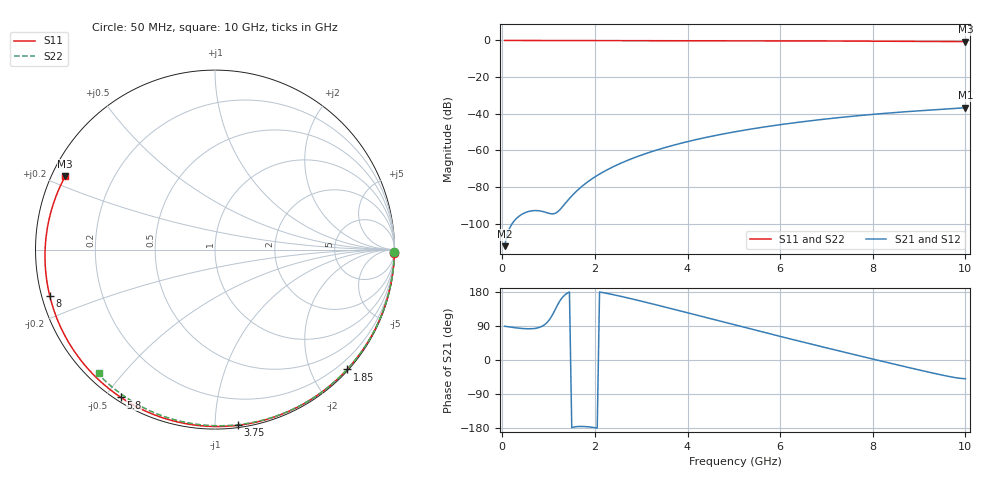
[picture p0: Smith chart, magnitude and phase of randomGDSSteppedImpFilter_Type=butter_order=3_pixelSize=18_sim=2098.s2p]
! freq	dB(S11)	phase(S11)	dB(S12)	phase(S12)
!  dB(S21)	phase(S21)	dB(S22)	phase(S22)
!S-par simulation data
#  GHz  S  DB  R 50
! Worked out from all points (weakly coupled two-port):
!   200 points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, 50 MHz to 10 GHz, reference 50 ohm
!   highest |S21| = -36.75 dB at 10 GHz (marker M1); lowest = -112.4 dB at 50 MHz (marker M2)
!   lowest |S11| = -0.6 dB at 10 GHz (marker M3), VSWR 27.19, Z = 1.94 + j11.6 ohm
!   |S11| at or under -10 dB: nowhere
!   |S22| runs from -0.5 to 0.0 dB; largest |S21 - S12| = 0
!   S11 on the Smith chart (normalised r, x): 50 MHz: 0, -98; 1.85 GHz: 0.02, -2.59; 3.75 GHz: 0.01, -1.14; 5.8 GHz: 0.02, -0.55; 8 GHz: 0.02, -0.14; 10 GHz: 0.04, +0.23
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0.05  -0.00 -1.2  -112.36 89.1  -112.36 89.1  -0.00 -0.8
0.45  -0.01 -10.4  -94.57 82.9  -94.57 82.9  -0.01 -6.9
0.85  -0.03 -19.6  -93.28 88.5  -93.28 88.5  -0.02 -12.9
1.25  -0.04 -28.8  -92.29 157.3  -92.29 157.3  -0.02 -19.0
1.7  -0.05 -38.9  -80.11 -175.3  -80.11 -175.3  -0.03 -25.7
1.75  -0.05 -40.0  -79.06 -175.4  -79.06 -175.4  -0.03 -26.4
1.85  -0.05 -42.2  -77.12 -176.2  -77.12 -176.2  -0.04 -27.9
2.15  -0.06 -48.8  -72.23 178.4  -72.23 178.4  -0.04 -32.3
2.5  -0.07 -56.4  -67.73 169.6  -67.73 169.6  -0.05 -37.4
2.9  -0.08 -64.9  -63.56 158.3  -63.56 158.3  -0.06 -43.2
3.4  -0.10 -75.4  -59.35 143.2  -59.35 143.2  -0.07 -50.3
3.75  -0.11 -82.5  -56.86 132.4  -56.86 132.4  -0.07 -55.2
4.4  -0.14 -95.5  -52.96 112.1  -52.96 112.1  -0.09 -64.1
5.05  -0.17 -108.2  -49.77 91.7  -49.77 91.7  -0.11 -72.8
5.8  -0.21 -122.5  -46.72 68.5  -46.72 68.5  -0.14 -82.5
6.7  -0.27 -139.4  -43.74 41.1  -43.74 41.1  -0.18 -93.7
7.35  -0.33 -151.7  -41.93 21.6  -41.93 21.6  -0.22 -101.6
8  -0.39 -164.2  -40.37 2.5  -40.37 2.5  -0.26 -109.3
8.35  -0.43 -171.1  -39.63 -7.7  -39.63 -7.7  -0.29 -113.4
9.2  -0.53 171.4  -38.09 -31.9  -38.09 -31.9  -0.36 -123.3
9.6  -0.58 162.8  -37.45 -42.4  -37.45 -42.4  -0.40 -128.0
10  -0.64 153.9  -36.75 -49.3  -36.75 -49.3  -0.49 -133.2
